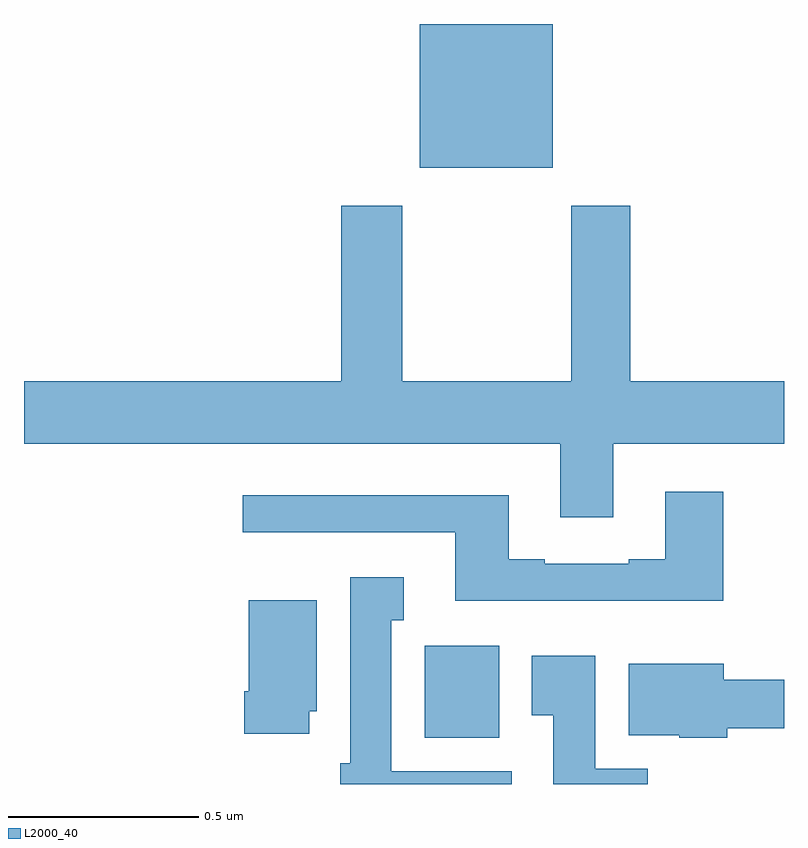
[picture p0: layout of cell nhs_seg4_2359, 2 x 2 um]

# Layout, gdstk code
import gdstk
lib = gdstk.Library(unit=1e-6, precision=1e-09)
def R(c, l, rs):  # rectangles x0, y0, x1, y1
    for r in rs: c.add(gdstk.rectangle(r[:2], r[2:], *l))
def P(c, l, *ps):  # polygons
    for p in ps: c.add(gdstk.Polygon(p, *l))
L2000_40 = (2000, 40)

nhs_seg4_2359 = lib.new_cell('nhs_seg4_2359')
R(nhs_seg4_2359, L2000_40, [(140.054,820.022,140.251,820.264), (140.042,821.522,140.392,821.9)])
P(nhs_seg4_2359, L2000_40, [(140.551,820.796),(141,820.796),(141,820.96),(140.595,820.96),(140.595,821.422),(140.44,821.422),(140.44,820.96),(139.995,820.96),(139.995,821.422),(139.835,821.422),(139.835,820.96),(139,820.96),(139,820.796),(140.411,820.796),(140.411,820.602),(140.551,820.602)],
  [(140.84,820.669),(140.687,820.669),(140.687,820.492),(140.591,820.492),(140.591,820.479),(140.371,820.479),(140.371,820.492),(140.275,820.492),(140.275,820.66),(139.575,820.66),(139.575,820.563),(140.135,820.563),(140.135,820.382),(140.84,820.382)],
  [(140.284,819.934),(139.966,819.934),(139.966,820.331),(139.999,820.331),(139.999,820.444),(139.859,820.444),(139.859,819.954),(139.832,819.954),(139.832,819.9),(140.284,819.9)],
  [(139.75,820.092),(139.771,820.092),(139.771,820.384),(139.592,820.384),(139.592,820.144),(139.58,820.144),(139.58,820.032),(139.75,820.032)],
  [(140.642,819.94),(140.503,819.94),(140.503,820.237),(140.336,820.237),(140.336,820.081),(140.393,820.081),(140.393,819.9),(140.642,819.9)],
  [(140.85,820.047),(141,820.047),(141,820.175),(140.842,820.175),(140.842,820.216),(140.591,820.216),(140.591,820.028),(140.724,820.028),(140.724,820.022),(140.85,820.022)])

lib.write_gds('nhs_seg4_2359.gds')
